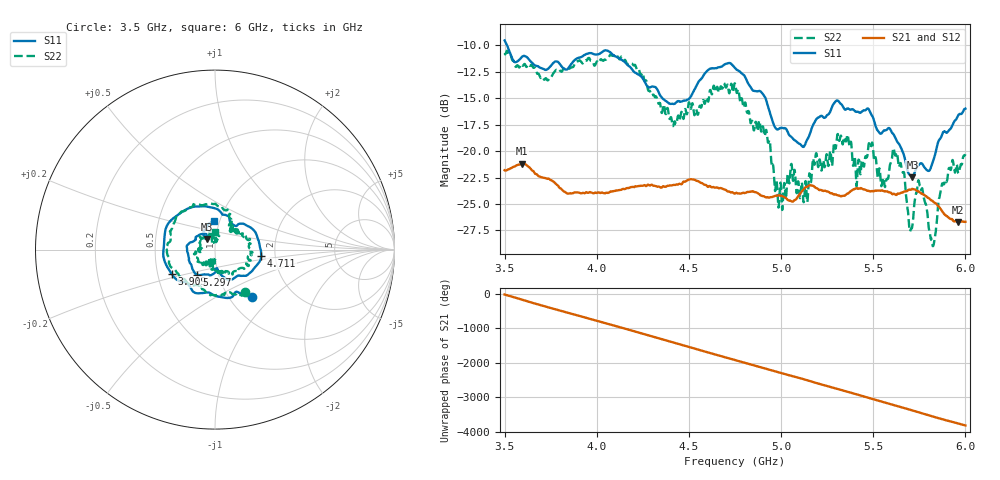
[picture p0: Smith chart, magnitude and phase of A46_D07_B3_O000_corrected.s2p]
! Created with skrf 1.9.0 (http://scikit-rf.org).
# Hz S RI R 50.0
!freq ReS11 ImS11 ReS21 ImS21 ReS12 ImS12 ReS22 ImS22
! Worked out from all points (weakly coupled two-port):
!   1601 points, 3.5 GHz to 6 GHz, reference 50 ohm
!   highest |S21| = -21.18 dB at 3.592 GHz (marker M1); lowest = -26.7 dB at 5.958 GHz (marker M2)
!   lowest |S11| = -22.5 dB at 5.713 GHz (marker M3), VSWR 1.16, Z = 45.2 + j5.35 ohm
!   |S11| at or under -10 dB: 3.513 GHz to end of sweep
!   |S22| runs from -29.0 to -10.5 dB; largest |S21 - S12| = 0.001
!   S11 on the Smith chart (normalised r, x): 3.5 GHz: 1.27, -0.75; 3.909 GHz: 0.59, -0.17; 4.711 GHz: 1.69, -0.13; 5.297 GHz: 0.79, -0.23; 6 GHz: 0.94, +0.31
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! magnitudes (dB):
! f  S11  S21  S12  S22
! 3.5 GHz  -9.6  -21.8  -21.8  -10.8
! 3.592 GHz  -11.1  -21.2  -21.2  -11.8
! 3.909 GHz  -11.1  -24.0  -23.9  -11.5
! 3.917 GHz  -11.1  -24.0  -24.0  -11.6
! 4.142 GHz  -11.5  -23.6  -23.6  -11.3
! 4.334 GHz  -14.4  -23.4  -23.3  -15.5
! 4.422 GHz  -15.5  -23.2  -23.2  -17.2
! 4.711 GHz  -11.7  -23.8  -23.8  -13.8
! 4.75 GHz  -12.2  -24.0  -23.9  -13.6
! 4.928 GHz  -15.7  -24.4  -24.3  -19.1
! 4.995 GHz  -17.8  -24.2  -24.2  -23.0
! 5.133 GHz  -19.3  -23.4  -23.4  -22.8
! 5.167 GHz  -17.8  -23.3  -23.2  -21.9
! 5.297 GHz  -15.3  -24.1  -24.1  -19.7
! 5.584 GHz  -17.8  -23.9  -23.9  -22.2
! 5.62 GHz  -18.7  -24.1  -24.1  -20.4
! 5.713 GHz  -22.5  -23.6  -23.5  -27.0
! 5.753 GHz  -21.2  -23.9  -23.9  -23.3
! 5.825 GHz  -20.9  -24.8  -24.7  -29.0
! 5.87 GHz  -18.6  -25.6  -25.5  -23.3
! 5.958 GHz  -16.7  -26.7  -26.7  -21.9
! 6 GHz  -16.0  -26.7  -26.6  -20.3
